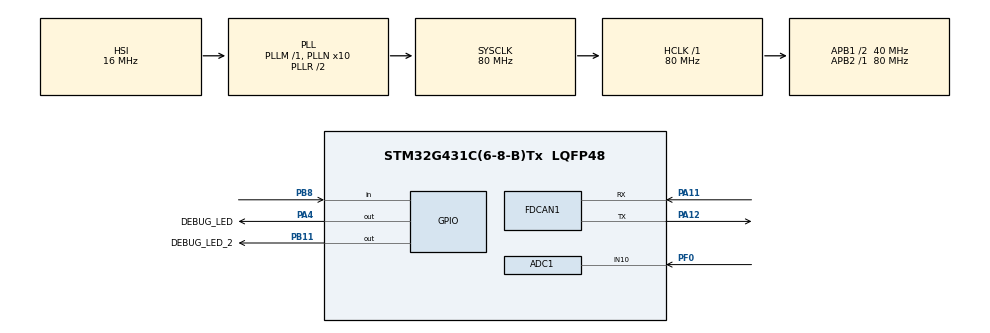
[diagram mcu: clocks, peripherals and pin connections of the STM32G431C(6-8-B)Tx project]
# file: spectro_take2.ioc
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ADC1.Channel-1\#ChannelRegularConversion=ADC_CHANNEL_10
ADC1.NbrOfConversionFlag=1
ADC1.OffsetNumber-1\#ChannelRegularConversion=ADC_OFFSET_NONE
ADC1.Rank-1\#ChannelRegularConversion=1
ADC1.SamplingTime-1\#ChannelRegularConversion=ADC_SAMPLETIME_2CYCLES_5
ADC1.master=1
FDCAN1.CalculateBaudRateNominal=1000000
FDCAN1.CalculateTimeBitNominal=1000
FDCAN1.CalculateTimeQuantumNominal=100.0
FDCAN1.DataPrescaler=4
FDCAN1.DataSyncJumpWidth=2
FDCAN1.DataTimeSeg1=6
FDCAN1.DataTimeSeg2=3
FDCAN1.FrameFormat=FDCAN_FRAME_FD_NO_BRS
FDCAN1.Mode=FDCAN_MODE_NORMAL
FDCAN1.NominalPrescaler=4
FDCAN1.NominalSyncJumpWidth=2
FDCAN1.NominalTimeSeg1=6
FDCAN1.NominalTimeSeg2=3
FDCAN1.StdFiltersNbr=0
Mcu.Family=STM32G4
Mcu.Name=STM32G431C(6-8-B)Tx
Mcu.Package=LQFP48
NVIC.FDCAN1_IT0_IRQn=true\:0\:0\:false\:false\:true\:true\:true\:true
NVIC.FDCAN1_IT1_IRQn=true\:0\:0\:false\:false\:true\:true\:true\:true
NVIC.PriorityGroup=NVIC_PRIORITYGROUP_4
PA10.Signal=USART1_RX
PA11.Mode=FDCAN_Activate
PA11.Signal=FDCAN1_RX
PA12.Mode=FDCAN_Activate
PA12.Signal=FDCAN1_TX
PA13.Signal=SYS_JTMS-SWDIO
PA14.Signal=SYS_JTCK-SWCLK
PA4.GPIO_Label=DEBUG_LED
PA4.Signal=GPIO_Output
PA8.Signal=USART1_CK
PA9.Signal=USART1_TX
PB11.GPIO_Label=DEBUG_LED_2
PB11.Signal=GPIO_Output
PB3.Signal=SYS_JTDO-SWO
PB8-BOOT0.Signal=GPIO_Input
PF0-OSC_IN.Mode=IN10-Single-Ended
PF0-OSC_IN.Signal=ADC1_IN10
ProjectManager.HeapSize=0x200
ProjectManager.StackSize=0x400
ProjectManager.TargetToolchain=STM32CubeIDE
RCC.ADC12Freq_Value=80000000
RCC.AHBFreq_Value=80000000
RCC.APB1CLKDivider=RCC_HCLK_DIV2
RCC.APB1Freq_Value=40000000
RCC.APB1TimFreq_Value=80000000
RCC.APB2Freq_Value=80000000
RCC.APB2TimFreq_Value=80000000
RCC.CortexFreq_Value=80000000
RCC.EXTERNAL_CLOCK_VALUE=12288000
RCC.HCLKFreq_Value=80000000
RCC.HSE_VALUE=8000000
RCC.HSI48_VALUE=48000000
RCC.HSI_VALUE=16000000
RCC.LSE_VALUE=32768
RCC.PLLN=10
RCC.SYSCLKFreq_VALUE=80000000
RCC.SYSCLKSource=RCC_SYSCLKSOURCE_PLLCLK
RCC.USBFreq_Value=80000000
RCC.VCOOutputFreq_Value=160000000
VP_SYS_VS_DBSignals.Mode=DisableDeadBatterySignals
board=custom

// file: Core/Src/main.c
/* USER CODE BEGIN Header */
/**
  ******************************************************************************
  * @file           : main.c
  * @brief          : Main program body
  ******************************************************************************
  * @attention
  *
  * Copyright (c) 2025 STMicroelectronics.
  * All rights reserved.
  *
  * This software is licensed under terms that can be found in the LICENSE file
  * in the root directory of this software component.
  * If no LICENSE file comes with this software, it is provided AS-IS.
  *
  ******************************************************************************
  */
/* USER CODE END Header */
#include "main.h"

/* USER CODE BEGIN Includes */

#include "Board.h"

/* USER CODE END Includes */

/* USER CODE BEGIN PD */

#define sample_period 	10U  // 100Hz frequency, can be changed
#define adc_max_counts  4095.0f
#define adc_ref_voltage 3.3f

#define spectro_can_id  0x321U

/* USER CODE END PD */

ADC_HandleTypeDef hadc1;

FDCAN_HandleTypeDef hfdcan1;

/* USER CODE BEGIN PV */
static uint32_t sample_end = 0;
/* USER CODE END PV */

void SystemClock_Config(void);
static void MX_GPIO_Init(void);
static void MX_FDCAN1_Init(void);
static void MX_ADC1_Init(void);
/* USER CODE BEGIN PFP */

static float readvoltage(void);
static void sendsample(float voltage);

/* USER CODE END PFP */

int main(void)
{

  /* MCU Configuration--------------------------------------------------------*/

  /* Reset of all peripherals, Initializes the Flash interface and the Systick. */
  HAL_Init();

  /* Configure the system clock */
  SystemClock_Config();

  /* Initialize all configured peripherals */
  MX_GPIO_Init();
  MX_FDCAN1_Init();
  MX_ADC1_Init();
  /* USER CODE BEGIN 2 */

  Board_Init(&hfdcan1);

  // sampling timestamp
  sample_end = HAL_GetTick();

  uint8_t txData[2] = {0xAA, 0x55};

  /* USER CODE END 2 */

  /* Infinite loop */
  /* USER CODE BEGIN WHILE */
  while (1)
  {
	uint32_t now = HAL_GetTick();

	// periodic sampling, via an if loop
	if ((now - sample_end) >= sample_period)
	{
	  sample_end += sample_period;

	  // read voltage
	  float voltage = readvoltage();

	  // send sample
	  sendsample(voltage);

	  // blink debug led, for testing
	  HAL_GPIO_TogglePin(DEBUG_LED_GPIO_Port, DEBUG_LED_Pin);
	}
    /* USER CODE END WHILE */

  }
}

void SystemClock_Config(void)
{
  RCC_OscInitTypeDef RCC_OscInitStruct = {0};
  RCC_ClkInitTypeDef RCC_ClkInitStruct = {0};

  /** Configure the main internal regulator output voltage
  */
  HAL_PWREx_ControlVoltageScaling(PWR_REGULATOR_VOLTAGE_SCALE1);

  /** Initializes the RCC Oscillators according to the specified parameters
  * in the RCC_OscInitTypeDef structure.
  */
  RCC_OscInitStruct.OscillatorType = RCC_OSCILLATORTYPE_HSI;
  RCC_OscInitStruct.HSIState = RCC_HSI_ON;
  RCC_OscInitStruct.HSICalibrationValue = RCC_HSICALIBRATION_DEFAULT;
  RCC_OscInitStruct.PLL.PLLState = RCC_PLL_ON;
  RCC_OscInitStruct.PLL.PLLSource = RCC_PLLSOURCE_HSI;
  RCC_OscInitStruct.PLL.PLLM = RCC_PLLM_DIV1;
  RCC_OscInitStruct.PLL.PLLN = 10;
  RCC_OscInitStruct.PLL.PLLP = RCC_PLLP_DIV2;
  RCC_OscInitStruct.PLL.PLLQ = RCC_PLLQ_DIV2;
  RCC_OscInitStruct.PLL.PLLR = RCC_PLLR_DIV2;
  if (HAL_RCC_OscConfig(&RCC_OscInitStruct) != HAL_OK)
  {
    Error_Handler();
  }

  /** Initializes the CPU, AHB and APB buses clocks
  */
  RCC_ClkInitStruct.ClockType = RCC_CLOCKTYPE_HCLK|RCC_CLOCKTYPE_SYSCLK
                              |RCC_CLOCKTYPE_PCLK1|RCC_CLOCKTYPE_PCLK2;
  RCC_ClkInitStruct.SYSCLKSource = RCC_SYSCLKSOURCE_PLLCLK;
  RCC_ClkInitStruct.AHBCLKDivider = RCC_SYSCLK_DIV1;
  RCC_ClkInitStruct.APB1CLKDivider = RCC_HCLK_DIV2;
  RCC_ClkInitStruct.APB2CLKDivider = RCC_HCLK_DIV1;

  if (HAL_RCC_ClockConfig(&RCC_ClkInitStruct, FLASH_LATENCY_2) != HAL_OK)
  {
    Error_Handler();
  }
}

static void MX_ADC1_Init(void)
{

  ADC_MultiModeTypeDef multimode = {0};
  ADC_ChannelConfTypeDef sConfig = {0};

  /** Common config
  */
  hadc1.Instance = ADC1;
  hadc1.Init.ClockPrescaler = ADC_CLOCK_SYNC_PCLK_DIV2;
  hadc1.Init.Resolution = ADC_RESOLUTION_12B;
  hadc1.Init.DataAlign = ADC_DATAALIGN_RIGHT;
  hadc1.Init.GainCompensation = 0;
  hadc1.Init.ScanConvMode = ADC_SCAN_DISABLE;
  hadc1.Init.EOCSelection = ADC_EOC_SINGLE_CONV;
  hadc1.Init.LowPowerAutoWait = DISABLE;
  hadc1.Init.ContinuousConvMode = DISABLE;
  hadc1.Init.NbrOfConversion = 1;
  hadc1.Init.DiscontinuousConvMode = DISABLE;
  hadc1.Init.ExternalTrigConv = ADC_SOFTWARE_START;
  hadc1.Init.ExternalTrigConvEdge = ADC_EXTERNALTRIGCONVEDGE_NONE;
  hadc1.Init.DMAContinuousRequests = DISABLE;
  hadc1.Init.Overrun = ADC_OVR_DATA_PRESERVED;
  hadc1.Init.OversamplingMode = DISABLE;
  if (HAL_ADC_Init(&hadc1) != HAL_OK)
  {
    Error_Handler();
  }

  /** Configure the ADC multi-mode
  */
  multimode.Mode = ADC_MODE_INDEPENDENT;
  if (HAL_ADCEx_MultiModeConfigChannel(&hadc1, &multimode) != HAL_OK)
  {
    Error_Handler();
  }

  /** Configure Regular Channel
  */
  sConfig.Channel = ADC_CHANNEL_10;
  sConfig.Rank = ADC_REGULAR_RANK_1;
  sConfig.SamplingTime = ADC_SAMPLETIME_2CYCLES_5;
  sConfig.SingleDiff = ADC_SINGLE_ENDED;
  sConfig.OffsetNumber = ADC_OFFSET_NONE;
  sConfig.Offset = 0;
  if (HAL_ADC_ConfigChannel(&hadc1, &sConfig) != HAL_OK)
  {
    Error_Handler();
  }

}

static void MX_FDCAN1_Init(void)
{

  hfdcan1.Instance = FDCAN1;
  hfdcan1.Init.ClockDivider = FDCAN_CLOCK_DIV1;
  hfdcan1.Init.FrameFormat = FDCAN_FRAME_FD_NO_BRS;
  hfdcan1.Init.Mode = FDCAN_MODE_NORMAL;
  hfdcan1.Init.AutoRetransmission = DISABLE;
  hfdcan1.Init.TransmitPause = DISABLE;
  hfdcan1.Init.ProtocolException = DISABLE;
  hfdcan1.Init.NominalPrescaler = 4;
  hfdcan1.Init.NominalSyncJumpWidth = 2;
  hfdcan1.Init.NominalTimeSeg1 = 6;
  hfdcan1.Init.NominalTimeSeg2 = 3;
  hfdcan1.Init.DataPrescaler = 4;
  hfdcan1.Init.DataSyncJumpWidth = 2;
  hfdcan1.Init.DataTimeSeg1 = 6;
  hfdcan1.Init.DataTimeSeg2 = 3;
  hfdcan1.Init.StdFiltersNbr = 0;
  hfdcan1.Init.ExtFiltersNbr = 0;
  hfdcan1.Init.TxFifoQueueMode = FDCAN_TX_FIFO_OPERATION;
  if (HAL_FDCAN_Init(&hfdcan1) != HAL_OK)
  {
    Error_Handler();
  }

}

static void MX_GPIO_Init(void)
{
  GPIO_InitTypeDef GPIO_InitStruct = {0};

  /* GPIO Ports Clock Enable */
  __HAL_RCC_GPIOF_CLK_ENABLE();
  __HAL_RCC_GPIOA_CLK_ENABLE();
  __HAL_RCC_GPIOB_CLK_ENABLE();

  /*Configure GPIO pin Output Level */
  HAL_GPIO_WritePin(DEBUG_LED_GPIO_Port, DEBUG_LED_Pin, GPIO_PIN_RESET);

  /*Configure GPIO pin Output Level */
  HAL_GPIO_WritePin(DEBUG_LED_2_GPIO_Port, DEBUG_LED_2_Pin, GPIO_PIN_RESET);

  /*Configure GPIO pin : DEBUG_LED_Pin */
  GPIO_InitStruct.Pin = DEBUG_LED_Pin;
  GPIO_InitStruct.Mode = GPIO_MODE_OUTPUT_PP;
  GPIO_InitStruct.Pull = GPIO_NOPULL;
  GPIO_InitStruct.Speed = GPIO_SPEED_FREQ_LOW;
  HAL_GPIO_Init(DEBUG_LED_GPIO_Port, &GPIO_InitStruct);

  /*Configure GPIO pin : DEBUG_LED_2_Pin */
  GPIO_InitStruct.Pin = DEBUG_LED_2_Pin;
  GPIO_InitStruct.Mode = GPIO_MODE_OUTPUT_PP;
  GPIO_InitStruct.Pull = GPIO_NOPULL;
  GPIO_InitStruct.Speed = GPIO_SPEED_FREQ_LOW;
  HAL_GPIO_Init(DEBUG_LED_2_GPIO_Port, &GPIO_InitStruct);

  /*Configure GPIO pins : PA8 PA9 PA10 */
  GPIO_InitStruct.Pin = GPIO_PIN_8|GPIO_PIN_9|GPIO_PIN_10;
  GPIO_InitStruct.Mode = GPIO_MODE_AF_PP;
  GPIO_InitStruct.Pull = GPIO_NOPULL;
  GPIO_InitStruct.Speed = GPIO_SPEED_FREQ_LOW;
  GPIO_InitStruct.Alternate = GPIO_AF7_USART1;
  HAL_GPIO_Init(GPIOA, &GPIO_InitStruct);

  /*Configure GPIO pin : PB8 */
  GPIO_InitStruct.Pin = GPIO_PIN_8;
  GPIO_InitStruct.Mode = GPIO_MODE_INPUT;
  GPIO_InitStruct.Pull = GPIO_NOPULL;
  HAL_GPIO_Init(GPIOB, &GPIO_InitStruct);

}

/* USER CODE BEGIN 4 */

static float readvoltage(void)
{
	uint32_t raw_val = 0;

	if (HAL_ADC_Start(&hadc1) != HAL_OK) {
		return 0.0f;
	}

	if (HAL_ADC_PollForConversion(&hadc1, 10) != HAL_OK) {
		HAL_ADC_Stop(&hadc1);
		return 0.0f;
	}

	raw_val = HAL_ADC_GetValue(&hadc1);
	HAL_ADC_Stop(&hadc1);

	float voltage = ((float)raw_val / adc_max_counts) * adc_ref_voltage;
	return voltage;

}

static void sendsample(float voltage)
{
	uint8_t buf[4];

	union {
	float f;
	uint8_t b[4];
	} u;
	u.f = voltage;

	buf[0] = u.b[0];
	buf[1] = u.b[1];
	buf[2] = u.b[2];
	buf[3] = u.b[3];

	if (FDCAN_Transmit(&hfdcan1, spectro_can_id, buf, 4) != HAL_OK) {
		HAL_GPIO_WritePin(DEBUG_LED_2_GPIO_Port, DEBUG_LED_2_Pin, GPIO_PIN_SET);
	}

}

/* USER CODE END 4 */

void Error_Handler(void)
{
  __disable_irq();
  while (1)
  {
  }
}
